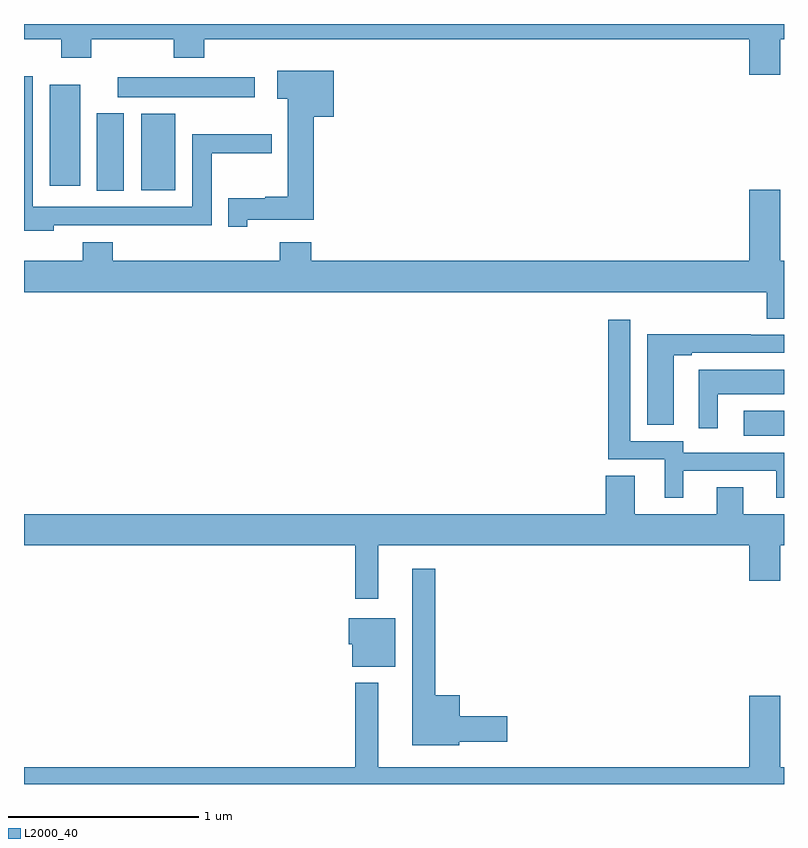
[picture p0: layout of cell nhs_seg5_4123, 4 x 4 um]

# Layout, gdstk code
import gdstk
lib = gdstk.Library(unit=1e-6, precision=1e-09)
def R(c, l, rs):  # rectangles x0, y0, x1, y1
    for r in rs: c.add(gdstk.rectangle(r[:2], r[2:], *l))
def P(c, l, *ps):  # polygons
    for p in ps: c.add(gdstk.Polygon(p, *l))
L2000_40 = (2000, 40)

nhs_seg5_4123 = lib.new_cell('nhs_seg5_4123')
R(nhs_seg5_4123, L2000_40, [(356.787,894.632,357,894.763), (353.384,895.921,353.524,896.329), (353.618,895.925,353.797,896.326), (353.135,895.947,353.296,896.479), (353.493,896.414,354.214,896.518)])
P(nhs_seg5_4123, L2000_40, [(356.98,896.72),(357,896.72),(357,896.799),(353,896.799),(353,896.72),(353.195,896.72),(353.195,896.621),(353.355,896.621),(353.355,896.72),(353.788,896.72),(353.788,896.621),(353.948,896.621),(353.948,896.72),(356.816,896.72),(356.816,896.532),(356.98,896.532)],
  [(354.174,895.769),(354.524,895.769),(354.524,896.312),(354.631,896.312),(354.631,896.554),(354.333,896.554),(354.333,896.405),(354.389,896.405),(354.389,895.891),(354.27,895.891),(354.27,895.881),(354.074,895.881),(354.074,895.731),(354.174,895.731)],
  [(353.157,895.74),(353.551,895.74),(353.551,895.739),(353.989,895.739),(353.989,896.119),(354.304,896.119),(354.304,896.219),(353.885,896.219),(353.885,895.836),(353.046,895.836),(353.046,896.525),(353,896.525),(353,895.712),(353.157,895.712)],
  [(357,895.552),(356.98,895.552),(356.98,895.927),(356.816,895.927),(356.816,895.552),(354.512,895.552),(354.512,895.651),(354.347,895.651),(354.347,895.552),(353.468,895.552),(353.468,895.651),(353.308,895.651),(353.308,895.552),(353,895.552),(353,895.388),(356.909,895.388),(356.909,895.249),(357,895.249)],
  [(356.47,894.447),(356.96,894.447),(356.96,894.306),(357,894.306),(357,894.543),(356.469,894.543),(356.469,894.603),(356.19,894.603),(356.19,895.243),(356.074,895.243),(356.074,894.507),(356.372,894.507),(356.372,894.306),(356.47,894.306)],
  [(356.419,895.056),(356.515,895.056),(356.515,895.068),(357,895.068),(357,895.164),(356.825,895.164),(356.825,895.167),(356.279,895.167),(356.279,894.69),(356.419,894.69)],
  [(356.65,894.851),(357,894.851),(357,894.979),(356.552,894.979),(356.552,894.672),(356.65,894.672)],
  [(354.865,894.056),(356.816,894.056),(356.816,893.868),(356.98,893.868),(356.98,894.056),(357,894.056),(357,894.22),(356.785,894.22),(356.785,894.362),(356.645,894.362),(356.645,894.22),(356.215,894.22),(356.215,894.422),(356.063,894.422),(356.063,894.22),(353,894.22),(353,894.056),(354.744,894.056),(354.744,893.775),(354.865,893.775)],
  [(355.29,893.021),(355.543,893.021),(355.543,893.156),(355.294,893.156),(355.294,893.266),(355.165,893.266),(355.165,893.932),(355.043,893.932),(355.043,893.003),(355.29,893.003)],
  [(354.955,893.671),(354.71,893.671),(354.71,893.535),(354.728,893.535),(354.728,893.417),(354.955,893.417)],
  [(357,892.888),(356.98,892.888),(356.98,893.263),(356.816,893.263),(356.816,892.888),(354.865,892.888),(354.865,893.332),(354.744,893.332),(354.744,892.888),(353,892.888),(353,892.799),(357,892.799)])

lib.write_gds('nhs_seg5_4123.gds')
